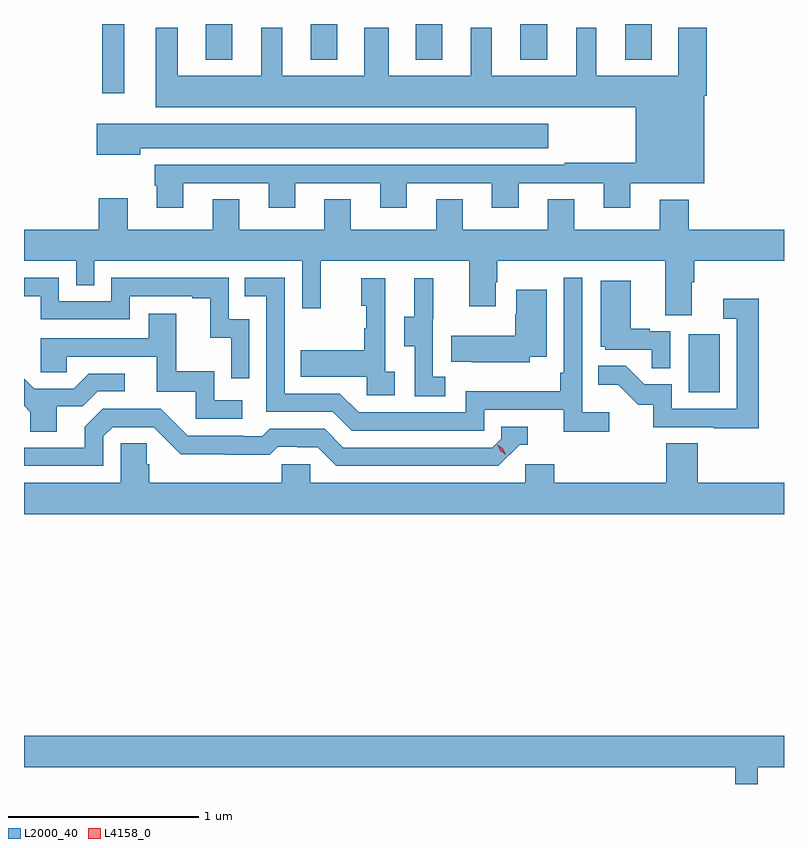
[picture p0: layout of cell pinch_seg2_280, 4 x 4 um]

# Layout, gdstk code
import gdstk
lib = gdstk.Library(unit=1e-6, precision=1e-09)
def R(c, l, rs):  # rectangles x0, y0, x1, y1
    for r in rs: c.add(gdstk.rectangle(r[:2], r[2:], *l))
def A(c, l, x, y, w, h, nx, ny, dx, dy):  # array of equal rectangles
    R(c, l, [(x+i*dx, y+j*dy, x+i*dx+w, y+j*dy+h) for i in range(nx) for j in range(ny)])
def P(c, l, *ps):  # polygons
    for p in ps: c.add(gdstk.Polygon(p, *l))
L2000_40 = (2000, 40)
L4158_0 = (4158, 0)

pinch_seg2_280 = lib.new_cell('pinch_seg2_280')
A(pinch_seg2_280, L2000_40, 940.487, 647.363, 0.14, 0.188, 5, 1, 0.552, 0)
R(pinch_seg2_280, L2000_40, [(943.028,645.612,943.192,645.919), (939.943,647.187,940.057,647.551)])
P(pinch_seg2_280, L2000_40, [(940.369,646.713),(940.817,646.713),(940.817,646.584),(940.957,646.584),(940.957,646.713),(941.405,646.713),(941.405,646.584),(941.545,646.584),(941.545,646.713),(941.993,646.713),(941.993,646.584),(942.133,646.584),(942.133,646.713),(942.581,646.713),(942.581,646.584),(942.721,646.584),(942.721,646.712),(943.111,646.712),(943.111,647.174),(943.124,647.174),(943.124,647.53),(942.974,647.53),(942.974,647.278),(942.541,647.278),(942.541,647.53),(942.437,647.53),(942.437,647.278),(941.992,647.278),(941.992,647.53),(941.882,647.53),(941.882,647.278),(941.449,647.278),(941.449,647.53),(941.321,647.53),(941.321,647.278),(940.888,647.278),(940.888,647.53),(940.778,647.53),(940.778,647.278),(940.339,647.278),(940.339,647.53),(940.223,647.53),(940.223,647.114),(942.749,647.114),(942.749,646.822),(942.376,646.822),(942.376,646.809),(940.217,646.809),(940.217,646.701),(940.229,646.701),(940.229,646.584),(940.369,646.584)],
  [(940.141,646.898),(942.289,646.898),(942.289,647.026),(939.912,647.026),(939.912,646.862),(940.141,646.862)],
  [(943.045,646.192),(943.058,646.192),(943.058,646.304),(943.53,646.304),(943.53,646.468),(943.028,646.468),(943.028,646.627),(942.875,646.627),(942.875,646.468),(942.427,646.468),(942.427,646.628),(942.287,646.628),(942.287,646.468),(941.839,646.468),(941.839,646.628),(941.699,646.628),(941.699,646.468),(941.251,646.468),(941.251,646.628),(941.111,646.628),(941.111,646.468),(940.663,646.468),(940.663,646.628),(940.523,646.628),(940.523,646.468),(940.075,646.468),(940.075,646.633),(939.923,646.633),(939.923,646.468),(939.53,646.468),(939.53,646.304),(939.804,646.304),(939.804,646.177),(939.9,646.177),(939.9,646.304),(940.995,646.304),(940.995,646.056),(941.093,646.056),(941.093,646.304),(941.873,646.304),(941.873,646.065),(942.013,646.065),(942.013,646.193),(942.021,646.193),(942.021,646.304),(942.905,646.304),(942.905,646.018),(943.045,646.018)],
  [(942.61,645.508),(942.468,645.508),(942.468,646.216),(942.372,646.216),(942.372,645.715),(942.352,645.715),(942.352,645.619),(941.856,645.619),(941.856,645.507),(941.292,645.507),(941.193,645.606),(940.902,645.606),(940.902,646.215),(940.693,646.215),(940.693,646.119),(940.806,646.119),(940.806,645.51),(941.156,645.51),(941.255,645.411),(941.952,645.411),(941.952,645.522),(942.371,645.522),(942.371,645.406),(942.61,645.406)],
  [(940.716,645.996),(940.608,645.996),(940.608,646.215),(939.99,646.215),(939.99,646.092),(939.714,646.092),(939.714,646.215),(939.53,646.215),(939.53,646.119),(939.618,646.119),(939.618,645.996),(940.086,645.996),(940.086,646.119),(940.415,646.119),(940.415,646.107),(940.511,646.107),(940.511,645.899),(940.62,645.899),(940.62,645.687),(940.716,645.687)],
  [(941.482,645.722),(941.43,645.722),(941.43,646.213),(941.306,646.213),(941.306,646.068),(941.332,646.068),(941.332,645.95),(941.322,645.95),(941.322,645.835),(940.987,645.835),(940.987,645.695),(941.334,645.695),(941.334,645.597),(941.482,645.597)],
  [(941.746,645.695),(941.682,645.695),(941.682,645.999),(941.684,645.999),(941.684,646.213),(941.585,646.213),(941.585,646.011),(941.531,646.011),(941.531,645.856),(941.586,645.856),(941.586,645.592),(941.746,645.592)],
  [(942.93,645.933),(942.824,645.933),(942.824,645.946),(942.724,645.946),(942.724,646.201),(942.566,646.201),(942.566,645.852),(942.588,645.852),(942.588,645.837),(942.835,645.837),(942.835,645.739),(942.93,645.739)],
  [(942.193,645.8),(942.28,645.8),(942.28,646.153),(942.122,646.153),(942.122,646.023),(942.115,646.023),(942.115,645.91),(941.779,645.91),(941.779,645.773),(941.887,645.773),(941.887,645.77),(942.193,645.77)],
  [(943.397,646.105),(943.209,646.105),(943.209,645.999),(943.281,645.999),(943.281,645.525),(942.939,645.525),(942.939,645.654),(942.795,645.654),(942.697,645.752),(942.553,645.752),(942.553,645.653),(942.657,645.653),(942.764,645.546),(942.841,645.546),(942.841,645.429),(943.159,645.429),(943.159,645.424),(943.397,645.424)],
  [(940.678,645.57),(940.53,645.57),(940.53,645.724),(940.331,645.724),(940.331,646.027),(940.187,646.027),(940.187,645.897),(939.618,645.897),(939.618,645.717),(939.755,645.717),(939.755,645.801),(940.229,645.801),(940.229,645.615),(940.434,645.615),(940.434,645.474),(940.678,645.474)],
  [(939.703,645.538),(939.838,645.538),(939.918,645.618),(940.06,645.618),(940.06,645.711),(939.872,645.711),(939.791,645.63),(939.585,645.63),(939.53,645.685),(939.53,645.541),(939.563,645.508),(939.563,645.406),(939.703,645.406)],
  [(939.948,645.381),(939.996,645.429),(940.212,645.429),(940.354,645.287),(940.59,645.287),(940.59,645.285),(940.823,645.285),(940.865,645.327),(940.968,645.327),(940.968,645.324),(941.075,645.324),(941.174,645.225),(942.027,645.225),(942.138,645.336),(942.181,645.336),(942.181,645.432),(942.042,645.432),(942.042,645.369),(941.994,645.321),(941.211,645.321),(941.112,645.42),(940.823,645.42),(940.784,645.381),(940.685,645.381),(940.685,645.384),(940.392,645.384),(940.251,645.525),(939.945,645.525),(939.851,645.431),(939.851,645.321),(939.53,645.321),(939.53,645.225),(939.948,645.225)],
  [(943.53,645.136),(943.076,645.136),(943.076,645.344),(942.911,645.344),(942.911,645.136),(942.32,645.136),(942.32,645.234),(942.168,645.234),(942.168,645.136),(941.037,645.136),(941.037,645.234),(940.887,645.234),(940.887,645.136),(940.19,645.136),(940.19,645.234),(940.175,645.234),(940.175,645.344),(940.038,645.344),(940.038,645.136),(939.53,645.136),(939.53,644.972),(943.53,644.972)],
  [(943.391,643.64),(943.53,643.64),(943.53,643.804),(939.53,643.804),(939.53,643.64),(943.273,643.64),(943.273,643.551),(943.391,643.551)])
P(pinch_seg2_280, L4158_0, [(942.066,645.284),(942.036,645.304),(942.02,645.336),(942.02,645.337),(942.02,645.337),(942.051,645.317),(942.066,645.284),(942.066,645.284)])

lib.write_gds('pinch_seg2_280.gds')
